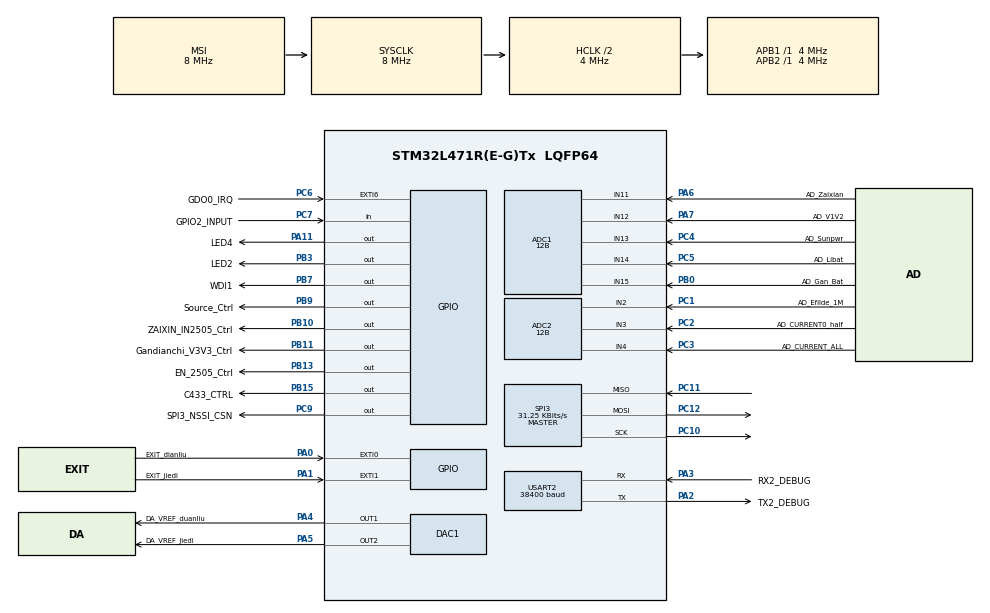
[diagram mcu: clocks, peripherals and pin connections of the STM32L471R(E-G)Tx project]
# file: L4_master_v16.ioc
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ADC1.Channel-10\#ChannelRegularConversion=ADC_CHANNEL_15
ADC1.Channel-11\#ChannelRegularConversion=ADC_CHANNEL_11
ADC1.Channel-12\#ChannelRegularConversion=ADC_CHANNEL_13
ADC1.Channel-13\#ChannelRegularConversion=ADC_CHANNEL_14
ADC1.Channel-14\#ChannelRegularConversion=ADC_CHANNEL_12
ADC1.Channel-6\#ChannelRegularConversion=ADC_CHANNEL_TEMPSENSOR
ADC1.Channel-7\#ChannelRegularConversion=ADC_CHANNEL_VBAT
ADC1.Channel-8\#ChannelRegularConversion=ADC_CHANNEL_VREFINT
ADC1.ClockPrescaler=ADC_CLOCK_ASYNC_DIV1
ADC1.ContinuousConvMode=ENABLE
ADC1.DMAContinuousRequests=ENABLE
ADC1.DataAlign=ADC_DATAALIGN_RIGHT
ADC1.DiscontinuousConvMode=DISABLE
ADC1.EOCSelection=ADC_EOC_SINGLE_CONV
ADC1.EnableAnalogWatchDog1=false
ADC1.EnableAnalogWatchDog2=false
ADC1.EnableAnalogWatchDog3=false
ADC1.EnableInjectedConversion=DISABLE
ADC1.EnableRegularConversion=ENABLE
ADC1.ExternalTrigConv=ADC_SOFTWARE_START
ADC1.ExternalTrigConvEdge=ADC_EXTERNALTRIGCONVEDGE_NONE
ADC1.LowPowerAutoWait=DISABLE
ADC1.NbrOfConversion=8
ADC1.NbrOfConversionFlag=1
ADC1.OffsetNumber-10\#ChannelRegularConversion=ADC_OFFSET_NONE
ADC1.OffsetNumber-11\#ChannelRegularConversion=ADC_OFFSET_NONE
ADC1.OffsetNumber-12\#ChannelRegularConversion=ADC_OFFSET_NONE
ADC1.OffsetNumber-13\#ChannelRegularConversion=ADC_OFFSET_NONE
ADC1.OffsetNumber-14\#ChannelRegularConversion=ADC_OFFSET_NONE
ADC1.OffsetNumber-6\#ChannelRegularConversion=ADC_OFFSET_NONE
ADC1.OffsetNumber-7\#ChannelRegularConversion=ADC_OFFSET_NONE
ADC1.OffsetNumber-8\#ChannelRegularConversion=ADC_OFFSET_NONE
ADC1.Overrun=ADC_OVR_DATA_PRESERVED
ADC1.OversamplingMode=DISABLE
ADC1.Rank-10\#ChannelRegularConversion=4
ADC1.Rank-11\#ChannelRegularConversion=5
ADC1.Rank-12\#ChannelRegularConversion=6
ADC1.Rank-13\#ChannelRegularConversion=7
ADC1.Rank-14\#ChannelRegularConversion=8
ADC1.Rank-6\#ChannelRegularConversion=1
ADC1.Rank-7\#ChannelRegularConversion=2
ADC1.Rank-8\#ChannelRegularConversion=3
ADC1.Resolution=ADC_RESOLUTION_12B
ADC1.SamplingTime-10\#ChannelRegularConversion=ADC_SAMPLETIME_640CYCLES_5
ADC1.SamplingTime-11\#ChannelRegularConversion=ADC_SAMPLETIME_640CYCLES_5
ADC1.SamplingTime-12\#ChannelRegularConversion=ADC_SAMPLETIME_640CYCLES_5
ADC1.SamplingTime-13\#ChannelRegularConversion=ADC_SAMPLETIME_640CYCLES_5
ADC1.SamplingTime-14\#ChannelRegularConversion=ADC_SAMPLETIME_2CYCLES_5
ADC1.SamplingTime-6\#ChannelRegularConversion=ADC_SAMPLETIME_640CYCLES_5
ADC1.SamplingTime-7\#ChannelRegularConversion=ADC_SAMPLETIME_640CYCLES_5
ADC1.SamplingTime-8\#ChannelRegularConversion=ADC_SAMPLETIME_640CYCLES_5
ADC1.ScanConvMode=ADC_SCAN_ENABLE
ADC1.master=1
ADC2.Channel-3\#ChannelRegularConversion=ADC_CHANNEL_4
ADC2.Channel-6\#ChannelRegularConversion=ADC_CHANNEL_2
ADC2.Channel-8\#ChannelRegularConversion=ADC_CHANNEL_3
ADC2.ClockPrescaler=ADC_CLOCK_ASYNC_DIV1
ADC2.ContinuousConvMode=ENABLE
ADC2.DMAContinuousRequests=ENABLE
ADC2.DataAlign=ADC_DATAALIGN_RIGHT
ADC2.DiscontinuousConvMode=DISABLE
ADC2.EOCSelection=ADC_EOC_SINGLE_CONV
ADC2.EnableAnalogWatchDog1=false
ADC2.EnableAnalogWatchDog2=false
ADC2.EnableAnalogWatchDog3=false
ADC2.EnableInjectedConversion=DISABLE
ADC2.EnableRegularConversion=ENABLE
ADC2.ExternalTrigConv=ADC_SOFTWARE_START
ADC2.ExternalTrigConvEdge=ADC_EXTERNALTRIGCONVEDGE_NONE
ADC2.LowPowerAutoWait=DISABLE
ADC2.NbrOfConversion=3
ADC2.NbrOfConversionFlag=1
ADC2.OffsetNumber-3\#ChannelRegularConversion=ADC_OFFSET_NONE
ADC2.OffsetNumber-6\#ChannelRegularConversion=ADC_OFFSET_NONE
ADC2.OffsetNumber-8\#ChannelRegularConversion=ADC_OFFSET_NONE
ADC2.Overrun=ADC_OVR_DATA_PRESERVED
ADC2.OversamplingMode=DISABLE
ADC2.Rank-3\#ChannelRegularConversion=1
ADC2.Rank-6\#ChannelRegularConversion=2
ADC2.Rank-8\#ChannelRegularConversion=3
ADC2.Resolution=ADC_RESOLUTION_12B
ADC2.SamplingTime-3\#ChannelRegularConversion=ADC_SAMPLETIME_247CYCLES_5
ADC2.SamplingTime-6\#ChannelRegularConversion=ADC_SAMPLETIME_247CYCLES_5
ADC2.SamplingTime-8\#ChannelRegularConversion=ADC_SAMPLETIME_247CYCLES_5
ADC2.ScanConvMode=ADC_SCAN_ENABLE
DAC1.DAC_Channel-DAC_OUT2=DAC_CHANNEL_2
Dma.ADC1.0.Direction=DMA_PERIPH_TO_MEMORY
Dma.ADC1.0.Instance=DMA1_Channel1
Dma.ADC1.0.MemDataAlignment=DMA_MDATAALIGN_HALFWORD
Dma.ADC1.0.MemInc=DMA_MINC_ENABLE
Dma.ADC1.0.Mode=DMA_CIRCULAR
Dma.ADC1.0.PeriphDataAlignment=DMA_PDATAALIGN_HALFWORD
Dma.ADC1.0.PeriphInc=DMA_PINC_DISABLE
Dma.ADC1.0.Priority=DMA_PRIORITY_LOW
Dma.ADC2.1.Direction=DMA_PERIPH_TO_MEMORY
Dma.ADC2.1.Instance=DMA2_Channel4
Dma.ADC2.1.MemDataAlignment=DMA_MDATAALIGN_HALFWORD
Dma.ADC2.1.MemInc=DMA_MINC_ENABLE
Dma.ADC2.1.Mode=DMA_CIRCULAR
Dma.ADC2.1.PeriphDataAlignment=DMA_PDATAALIGN_HALFWORD
Dma.ADC2.1.PeriphInc=DMA_PINC_DISABLE
Dma.ADC2.1.Priority=DMA_PRIORITY_VERY_HIGH
Dma.Request0=ADC1
Dma.Request1=ADC2
FREERTOS.INCLUDE_uxTaskGetStackHighWaterMark=1
FREERTOS.INCLUDE_xEventGroupSetBitFromISR=1
FREERTOS.INCLUDE_xTimerPendFunctionCall=1
FREERTOS.Mutexes01=myMutex01,Dynamic,NULL
FREERTOS.Queues01=myQueue01,16,uint16_t,NULL,Dynamic,NULL,NULL;myQueue02,16,uint16_t,NULL,Dynamic,NULL,NULL
FREERTOS.Tasks01=defaultTask,-3,256,StartDefaultTask,Default,NULL,Dynamic,NULL,NULL;myTask02,0,256,StartTask02,Default,NULL,Dynamic,NULL,NULL;myTask03,0,256,StartTask03,Default,NULL,Dynamic,NULL,NULL;myTask04,1,256,StartTask04,Default,NULL,Dynamic,NULL,NULL;myTask08,-3,384,StartTask08,Default,NULL,Dynamic,NULL,NULL
FREERTOS.Timers01=myTimer01,Callback01,osTimerPeriodic,Default,NULL,Dynamic,NULL
FREERTOS.configTIMER_TASK_PRIORITY=6
FREERTOS.configTOTAL_HEAP_SIZE=10240
FREERTOS.configUSE_TASK_NOTIFICATIONS=0
FREERTOS.configUSE_TICKLESS_IDLE=1
FREERTOS.configUSE_TIMERS=1
Mcu.Family=STM32L4
Mcu.Name=STM32L471R(E-G)Tx
Mcu.Package=LQFP64
NVIC.DMA1_Channel1_IRQn=true\:7\:0\:true\:false\:true\:true
NVIC.DMA2_Channel4_IRQn=true\:0\:0\:true\:false\:true\:false
NVIC.EXTI0_IRQn=true\:5\:0\:false\:false\:true\:true
NVIC.EXTI1_IRQn=true\:5\:0\:true\:false\:true\:true
NVIC.EXTI9_5_IRQn=true\:5\:0\:false\:false\:true\:true
NVIC.PriorityGroup=NVIC_PRIORITYGROUP_4
NVIC.TIM1_TRG_COM_TIM17_IRQn=true\:0\:0\:false\:false\:true\:false
NVIC.TIM6_DAC_IRQn=true\:5\:0\:true\:false\:true\:true
NVIC.TIM7_IRQn=true\:1\:0\:true\:false\:true\:false
NVIC.TimeBase=TIM1_TRG_COM_TIM17_IRQn
NVIC.TimeBaseIP=TIM17
NVIC.USART2_IRQn=true\:5\:0\:false\:false\:true\:true
PA0.GPIO_Label=EXIT_dianliu
PA0.Signal=GPXTI0
PA1.GPIO_Label=EXIT_jiedi
PA1.GPIO_ModeDefaultEXTI=GPIO_MODE_IT_FALLING
PA1.GPIO_PuPd=GPIO_NOPULL
PA1.Signal=GPXTI1
PA11.GPIO_Label=LED4
PA11.PinState=GPIO_PIN_SET
PA11.Signal=GPIO_Output
PA13\ (JTMS-SWDIO).Mode=Serial_Wire
PA13\ (JTMS-SWDIO).Signal=SYS_JTMS-SWDIO
PA14\ (JTCK-SWCLK).Mode=Serial_Wire
PA14\ (JTCK-SWCLK).Signal=SYS_JTCK-SWCLK
PA2.GPIO_Label=TX2_DEBUG
PA2.Mode=Asynchronous
PA2.Signal=USART2_TX
PA3.GPIO_Label=RX2_DEBUG
PA3.Mode=Asynchronous
PA3.Signal=USART2_RX
PA4.GPIO_Label=DA_VREF_duanliu
PA4.GPIO_Mode=GPIO_MODE_ANALOG
PA4.GPIO_PuPd=GPIO_NOPULL
PA4.Signal=COMP_DAC11_group
PA5.GPIO_Label=DA_VREF_jiedi
PA5.GPIO_Mode=GPIO_MODE_ANALOG
PA5.GPIO_PuPd=GPIO_NOPULL
PA5.Signal=COMP_DAC12_group
PA6.GPIO_Label=AD_Zaixian
PA6.Signal=ADCx_IN11
PA7.GPIO_Label=AD_V1V2
PA7.Signal=ADCx_IN12
PB0.GPIO_Label=AD_Gan_Bat
PB0.Signal=ADCx_IN15
PB10.GPIO_Label=ZAIXIN_IN2505_Ctrl
PB10.PinState=GPIO_PIN_SET
PB10.Signal=GPIO_Output
PB11.GPIO_Label=Gandianchi_V3V3_Ctrl
PB11.PinState=GPIO_PIN_SET
PB11.Signal=GPIO_Output
PB13.GPIO_Label=EN_2505_Ctrl
PB13.Signal=GPIO_Output
PB15.GPIO_Label=C433_CTRL
PB15.GPIO_PuPd=GPIO_PULLUP
PB15.PinState=GPIO_PIN_SET
PB15.Signal=GPIO_Output
PB3\ (JTDO-TRACESWO).GPIO_Label=LED2
PB3\ (JTDO-TRACESWO).PinState=GPIO_PIN_SET
PB3\ (JTDO-TRACESWO).Signal=GPIO_Output
PB7.GPIO_Label=WDI1
PB7.Signal=GPIO_Output
PB9.GPIO_Label=Source_Ctrl
PB9.Signal=GPIO_Output
PC0.Signal=ADCx_IN1
PC1.GPIO_Label=AD_Efilde_1M
PC1.Signal=ADCx_IN2
PC10.Mode=Full_Duplex_Master
PC10.Signal=SPI3_SCK
PC11.Mode=Full_Duplex_Master
PC11.Signal=SPI3_MISO
PC12.Mode=Full_Duplex_Master
PC12.Signal=SPI3_MOSI
PC2.GPIO_Label=AD_CURRENT0_half
PC2.Signal=ADCx_IN3
PC3.GPIO_Label=AD_CURRENT_ALL
PC3.Signal=ADCx_IN4
PC4.GPIO_Label=AD_Sunpwr
PC4.Signal=ADCx_IN13
PC5.GPIO_Label=AD_Libat
PC5.Signal=ADCx_IN14
PC6.GPIO_Label=GDO0_IRQ
PC6.Signal=GPXTI6
PC7.GPIO_Label=GPIO2_INPUT
PC7.Signal=GPIO_Input
PC9.GPIO_Label=SPI3_NSSI_CSN
PC9.Signal=GPIO_Output
ProjectManager.HeapSize=0x200
ProjectManager.StackSize=0x400
ProjectManager.TargetToolchain=MDK-ARM V5
RCC.ADCCLockSelection=RCC_ADCCLKSOURCE_SYSCLK
RCC.ADCFreq_Value=8000000
RCC.AHBCLKDivider=RCC_SYSCLK_DIV2
RCC.AHBFreq_Value=4000000
RCC.APB1Freq_Value=4000000
RCC.APB1TimFreq_Value=4000000
RCC.APB2Freq_Value=4000000
RCC.APB2TimFreq_Value=4000000
RCC.CortexFreq_Value=4000000
RCC.HCLKFreq_Value=4000000
RCC.HSE_VALUE=8000000
RCC.HSI_VALUE=16000000
RCC.LSE_VALUE=32768
RCC.MSIClockRange=RCC_MSIRANGE_7
RCC.MSI_VALUE=8000000
RCC.PLLM=2
RCC.PLLN=40
RCC.PLLSAI1N=16
RCC.PLLSAI1R=RCC_PLLR_DIV8
RCC.PLLSAI2N=16
RCC.PLLSAI2R=RCC_PLLR_DIV8
RCC.SYSCLKFreq_VALUE=8000000
RCC.USART2CLockSelection=RCC_USART2CLKSOURCE_SYSCLK
RCC.USART3CLockSelection=RCC_USART3CLKSOURCE_SYSCLK
RCC.VCOOutputFreq_Value=160000000
SH.ADCx_IN1.0=ADC2_IN1
SH.ADCx_IN11.0=ADC1_IN11,IN11-Single-Ended
SH.ADCx_IN12.0=ADC1_IN12,IN12-Single-Ended
SH.ADCx_IN13.0=ADC1_IN13,IN13-Single-Ended
SH.ADCx_IN14.0=ADC1_IN14,IN14-Single-Ended
SH.ADCx_IN15.0=ADC1_IN15,IN15-Single-Ended
SH.ADCx_IN2.0=ADC2_IN2,IN2-Single-Ended
SH.ADCx_IN3.0=ADC2_IN3,IN3-Single-Ended
SH.ADCx_IN4.0=ADC2_IN4,IN4-Single-Ended
SH.COMP_DAC11_group.0=DAC1_OUT1,DAC_OUT1
SH.COMP_DAC12_group.0=DAC1_OUT2,DAC_OUT2
SPI3.BaudRatePrescaler=SPI_BAUDRATEPRESCALER_128
SPI3.CalculateBaudRate=31.25 KBits/s
SPI3.DataSize=SPI_DATASIZE_8BIT
SPI3.Direction=SPI_DIRECTION_2LINES
SPI3.Mode=SPI_MODE_MASTER
SPI3.VirtualType=VM_MASTER
TIM6.Period=1000-1
TIM6.Prescaler=4000-1
TIM7.Period=250
TIM7.Prescaler=4-1
USART2.BaudRate=38400
USART2.VirtualMode-Asynchronous=VM_ASYNC
USART2.WordLength=WORDLENGTH_8B
VP_ADC1_TempSens_Input.Mode=IN-TempSens
VP_ADC1_Vbat_Input.Mode=IN-Vbat
VP_ADC1_Vref_Input.Mode=IN-Vrefint
VP_FREERTOS_VS_ENABLE.Mode=Enabled
VP_RTC_VS_RTC_Activate.Mode=RTC_Enabled
VP_SYS_VS_tim17.Mode=TIM17
VP_TIM6_VS_ClockSourceINT.Mode=Enable_Timer
VP_TIM7_VS_ClockSourceINT.Mode=Enable_Timer
board=L4_master_v16

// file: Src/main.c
/**
  ******************************************************************************
  * File Name          : main.c
  * Description        : Main program body
  ******************************************************************************
  * This notice applies to any and all portions of this file
  * that are not between comment pairs USER CODE BEGIN and
  * USER CODE END. Other portions of this file, whether
  * inserted by the user or by software development tools
  * are owned by their respective copyright owners.
  *
  * Copyright (c) 2017 STMicroelectronics International N.V.
  * All rights reserved.
  *
  * Redistribution and use in source and binary forms, with or without
  * modification, are permitted, provided that the following conditions are met:
  *
  * 1. Redistribution of source code must retain the above copyright notice,
  *    this list of conditions and the following disclaimer.
  * 2. Redistributions in binary form must reproduce the above copyright notice,
  *    this list of conditions and the following disclaimer in the documentation
  *    and/or other materials provided with the distribution.
  * 3. Neither the name of STMicroelectronics nor the names of other
  *    contributors to this software may be used to endorse or promote products
  *    derived from this software without specific written permission.
  * 4. This software, including modifications and/or derivative works of this
  *    software, must execute solely and exclusively on microcontroller or
  *    microprocessor devices manufactured by or for STMicroelectronics.
  * 5. Redistribution and use of this software other than as permitted under
  *    this license is void and will automatically terminate your rights under
  *    this license.
  *
  * THIS SOFTWARE IS PROVIDED BY STMICROELECTRONICS AND CONTRIBUTORS "AS IS"
  * AND ANY EXPRESS, IMPLIED OR STATUTORY WARRANTIES, INCLUDING, BUT NOT
  * LIMITED TO, THE IMPLIED WARRANTIES OF MERCHANTABILITY, FITNESS FOR A
  * PARTICULAR PURPOSE AND NON-INFRINGEMENT OF THIRD PARTY INTELLECTUAL PROPERTY
  * RIGHTS ARE DISCLAIMED TO THE FULLEST EXTENT PERMITTED BY LAW. IN NO EVENT
  * SHALL STMICROELECTRONICS OR CONTRIBUTORS BE LIABLE FOR ANY DIRECT, INDIRECT,
  * INCIDENTAL, SPECIAL, EXEMPLARY, OR CONSEQUENTIAL DAMAGES (INCLUDING, BUT NOT
  * LIMITED TO, PROCUREMENT OF SUBSTITUTE GOODS OR SERVICES; LOSS OF USE, DATA,
  * OR PROFITS; OR BUSINESS INTERRUPTION) HOWEVER CAUSED AND ON ANY THEORY OF
  * LIABILITY, WHETHER IN CONTRACT, STRICT LIABILITY, OR TORT (INCLUDING
  * NEGLIGENCE OR OTHERWISE) ARISING IN ANY WAY OUT OF THE USE OF THIS SOFTWARE,
  * EVEN IF ADVISED OF THE POSSIBILITY OF SUCH DAMAGE.
  *
  ******************************************************************************
  */
#include "main.h"
#include "stm32l4xx_hal.h"
#include "cmsis_os.h"
#include "adc.h"
#include "dac.h"
#include "dma.h"
#include "rtc.h"
#include "spi.h"
#include "tim.h"
#include "usart.h"
#include "gpio.h"

/* USER CODE BEGIN Includes */
#include "my_usart.h"
#include "my_extern_val.h"
#include "my_gloabal_val.h"
#include "my_ADC.h"
#include "my_DAC.h"
//#include "my_led.h"
#include "my_101.h"
#include "my_time.h"
#include "my_cc1101.h"
#include "bsp_stm_flash.h"
#include "bsp_iap.h"

/* USER CODE END Includes */

/* USER CODE BEGIN PV */
/* Private variables ---------------------------------------------------------*/
#include "my_OS.h"
/*
版本号20171227E
*/
extern uint8_t my_nmi_status;
extern uint16_t ADC2_GetValue[ADC2_ROW][ADC2_COLM];//用于保存采集的值,M个通道,N次
extern uint16_t ADC1_GetValue[ADC1_ROW][ADC1_COLM];//用于保存采集的值,M个通道,N次

extern	uint32_t my_dac_tr_data;

extern uint8_t  rsbuf2[200];
extern uint16_t my_usart2_re_count;
extern uint16_t VREFINT_CAL;
extern uint16_t MY_TS_CAL1;
extern uint16_t MY_TS_CAL2;

//DAC1
extern uint16_t my_dac1_channel1_data_i;
extern uint16_t my_dac1_channel2_data_e;

//USART3

extern uint8_t  my_Time_Cyc_exit_Status;
extern uint16_t my_pro_step;
extern double ADC2_Filer_value_buf_2[ADC2_COLM][3];

/* USER CODE END PV */

void SystemClock_Config(void);
void MX_FREERTOS_Init(void);

/* USER CODE BEGIN PFP */
/* Private function prototypes -----------------------------------------------*/

/* USER CODE END PFP */

/* USER CODE BEGIN 0 */

uint8_t my_sys_start_status=0;  //系统启动标识

/* USER CODE END 0 */

int main(void)
{

  /* USER CODE BEGIN 1 */
    __IO uint8_t xi=0,yi=0;

    uint8_t my_usart_tx_data[20]= {0x31,0x32,0x033,0x34,0X35,0X36,0X37,0X38,0X39,0X3A};
    uint32_t my_fr=0;
  /* USER CODE END 1 */

  /* MCU Configuration----------------------------------------------------------*/

  /* Reset of all peripherals, Initializes the Flash interface and the Systick. */
  HAL_Init();

  /* Configure the system clock */
  SystemClock_Config();

  /* Initialize all configured peripherals */
  MX_GPIO_Init();
  MX_DMA_Init();
  MX_ADC1_Init();
  MX_DAC1_Init();
  MX_RTC_Init();
  MX_ADC2_Init();
  MX_USART2_UART_Init();
  MX_SPI3_Init();
  MX_TIM7_Init();
  MX_TIM6_Init();

  /* USER CODE BEGIN 2 */

    HAL_NVIC_DisableIRQ(EXTI0_IRQn); //接地中断
    HAL_NVIC_DisableIRQ(EXTI1_IRQn); //短路中断
		HAL_NVIC_DisableIRQ(EXTI9_5_IRQn); //CC1101接收中断

    HAL_NVIC_ClearPendingIRQ(EXTI0_IRQn);
    HAL_NVIC_ClearPendingIRQ(EXTI1_IRQn);
		HAL_NVIC_ClearPendingIRQ(EXTI9_5_IRQn);
  //系统启动标识
  my_sys_start_status=1;
	HAL_TIM_Base_Start_IT(&htim6);  //开启tim6定时器,1s
    //__HAL_GPIO_EXTI_CLEAR_IT(GPIO_PIN_1); //这个可以清除外部中断，每个中断的清除函数都不一样，需要分别调用
    //__HAL_GPIO_EXTI_CLEAR_IT(GPIO_PIN_2); //这个可以清除外部中断，每个中断的清除函数都不一样，需要分别调用
   // HAL_TIM_Base_Start_IT(&htim6);  //开启tim6定时器,1s

		HAL_Delay(200);
    //LED2_ON;
		HAL_Delay(200);
		LED2_OFF;

		 HAL_Delay(200);
    //LED4_ON;
		HAL_Delay(200);
		LED4_OFF;

    //串口UART2
    HAL_UART_Transmit(&huart2,my_usart_tx_data,4,1000);
    printf("\nPrintf MCU1-UART2 IS OK!!\n");
    USART_printf(&huart2,"usart_printf MCU1-UART2 IS OK!!");

    my_fr=HAL_RCC_GetSysClockFreq();  //读取系统时钟
    printf("\n ======ZSQ:[%d]=====SysClockFreq:%dMHZ========\n",my_CC1101_chip_address,my_fr/1000000);

    //---ADC1,ADC2---DMA方式配置与启动
    HAL_ADC_Start_DMA(&hadc1, (uint32_t *)&ADC1_GetValue[0][0],ADC1_ROW*ADC1_COLM);//&ADC2_GetValue[0][0],ADC2_ROW*ADC2_COLM
    HAL_ADC_Start_DMA(&hadc2, (uint32_t *)&ADC2_GetValue[0][0],ADC2_ROW*ADC2_COLM);//&ADC1_GetValue[0][0],ADC1_ROW*ADC1_COLM

    //--------定时器控制
    HAL_TIM_Base_Start_IT(&htim7);  //开启tim7定时器，250us
    //HAL_TIM_Base_Start_IT(&htim6);  //开启tim6定时器,1s

//	HAL_TIM_Base_Stop_IT(&htim6);
//	HAL_TIM_Base_Stop_IT(&htim7);

    /* 得到基准电压校准值 */
    VREFINT_CAL = *(__IO uint16_t *)(0X1FFF75AA);
    MY_TS_CAL1 = *(__IO uint16_t *)(0X1FFF75A8);
    MY_TS_CAL2 = *(__IO uint16_t *)(0X1FFF75CA);
    printf("\n VREFINT_CAL=[%d],TS_CAL1 =%d,TS_CAL2 =%d\n",VREFINT_CAL,MY_TS_CAL1,MY_TS_CAL2);
    my_adc_1_convert_dis(1);

//关EXIT中断
//    HAL_NVIC_DisableIRQ(EXTI1_IRQn);
//    HAL_NVIC_DisableIRQ(EXTI2_IRQn);
//    __HAL_GPIO_EXTI_CLEAR_IT(GPIO_PIN_1); //这个可以清除外部中断，每个中断的清除函数都不一样，需要分别调用
//    __HAL_GPIO_EXTI_CLEAR_IT(GPIO_PIN_2); //这个可以清除外部中断，每个中断的清除函数都不一样，需要分别调用

//DAC1
    my_dac1_channel1_data_i=0X0FFF/2;
    my_dac1_channel2_data_e=0X0FFF/4;
    HAL_DAC_SetValue(&hdac1,DAC_CHANNEL_1,DAC_ALIGN_12B_R,my_dac1_channel1_data_i); //设置模拟量
    HAL_DAC_Start(&hdac1,DAC_CHANNEL_1); //开启DAC1的通道1  电流通道

    HAL_DAC_SetValue(&hdac1,DAC_CHANNEL_2,DAC_ALIGN_12B_R,my_dac1_channel2_data_e);//设置模拟量
    HAL_DAC_Start(&hdac1,DAC_CHANNEL_2);//开启DAC1的通道2  电场通道

    my_dac1_channel1_data_i=0X0FFF/11*10;
    HAL_DAC_SetValue(&hdac1,DAC_CHANNEL_1,DAC_ALIGN_12B_R,my_dac1_channel1_data_i);//设置模拟量，后自动输出
    my_dac1_channel2_data_e=0X0FFF/3.0;
    HAL_DAC_SetValue(&hdac1,DAC_CHANNEL_2,DAC_ALIGN_12B_R,my_dac1_channel2_data_e);//设置模拟量，后自动输出

//开EXIT中断

    HAL_NVIC_ClearPendingIRQ(EXTI0_IRQn);
    HAL_NVIC_ClearPendingIRQ(EXTI1_IRQn);
		HAL_NVIC_ClearPendingIRQ(EXTI9_5_IRQn);

    //HAL_NVIC_EnableIRQ(EXTI0_IRQn);
   //HAL_NVIC_EnableIRQ(EXTI1_IRQn); //短路中断开启
   // HAL_NVIC_EnableIRQ(EXTI9_5_IRQn);

  //====内部FLASH
	  uint64_t passsword=0;
		uint64_t length_L=0;

		passsword=APP_update_password;
		length_L=0X1234567890ABCDEF;

//			STMFLASH_Write(APP_update_status1_add,&passsword,1);
//			STMFLASH_Write(APP_update_status2_add,&passsword,1);
//			STMFLASH_Write(APP_update_length1_add,&length_L,1);
//			STMFLASH_Write(APP_update_length2_add,&length_L,1);

		STMFLASH_Read(APP_update_status1_add,&passsword,1);
		printf("status=[%X]\n",(uint32_t)passsword);
		STMFLASH_Read(APP_update_status2_add,&passsword,1);
		printf("status=[%X]\n",(uint32_t)passsword);
		STMFLASH_Read(APP_update_length1_add,&length_L,1);
		printf("status=[%X]\n",(uint32_t)length_L);
		STMFLASH_Read(APP_update_length2_add,&length_L,1);
		printf("status=[%X]\n",(uint32_t)length_L);

		//开启串口接收中断
		HAL_UART_Receive_IT(&huart2,&rsbuf2[rsbuf2pt_write],1);  //

//PWR关断管理
GANdianchi_OFF; //关断干电池
WDI1_TOGGLE;
HAL_Delay(500);
GANdianchi_ON; //打开干电池（默认）
//HAL_Delay(500);
//GANdianchi_OFF; //关断干电池

EN25505_OFF;
WDI1_TOGGLE;
HAL_Delay(500);
EN25505_ON;//BQ25505工作（默认）

CT_Source_short_ON;  //CT短路放电
WDI1_TOGGLE;
HAL_Delay(500);
CT_Source_short_OFF;  //CT开路，不放电（默认）

WDI1_TOGGLE;
HAL_Delay(500);

CT_to_BQ25505_ON;  //CT给BQ25充电
WDI1_TOGGLE;
HAL_Delay(500);
printf("\n 999999 \n");

CT_to_BQ25505_OFF;

//==CC1101  START  INIT
#if USE_CC1101_PWR_ON_STATUS==1

  CC1101_PWR_ON; //硬件默认是断开状态
	WDI1_TOGGLE;
	printf("\n 7777 \n");

	HAL_Delay(200);
	printf("\n 88888 \n");

#else
	CC1101_PWR_OFF;//CC1101断电

	HAL_Delay(200);
#endif
 printf("\n 66666 \n");

	WDI1_TOGGLE;
	printf("GDO2_CONFIG-%XH\n",CC1101ReadReg(CC1101_IOCFG2));
	printf("GDO1_CONFIG-%XH\n",CC1101ReadReg(CC1101_IOCFG1));
	printf("GDO0_CONFIG-%XH\n",CC1101ReadReg(CC1101_IOCFG0));
	WDI1_TOGGLE;

	CC1101Init();
	HAL_Delay(1000);

	printf("GDO2_CONFIG-%XH\n",CC1101ReadReg(CC1101_IOCFG2));
	printf("GDO1_CONFIG-%XH\n",CC1101ReadReg(CC1101_IOCFG1));
	printf("GDO0_CONFIG-%XH\n",CC1101ReadReg(CC1101_IOCFG0));

	my_read_all_reg();

	//--------进入WOR模式,当前方式是利用按钮中断，开启WOR模式
   //EVE0=0X876A T0为1秒 ，当T0为0.5秒的时候，为0X876A的一半，0X43B5H  0.25秒0X21DA

			CC1101WriteCmd(CC1101_SIDLE); //进入空闲状态
			CC1101WriteReg(CC1101_MCSM2,0X00); //写0x16 ,RX_TIME，写入0X00，设置接收时间限制，占空比问题00最高12%,如果没接收到数据，就进入SLEEP。
			CC1101WriteReg(CC1101_MCSM0,0x18);  //0X18 	//
			CC1101WriteReg(CC1101_WOREVT1,0x87);  //0X1E,event0 高字节
			CC1101WriteReg(CC1101_WOREVT0,0x6A);   //0X1F event0 低字节
			CC1101WriteReg(CC1101_WORCTRL,0X78); //写0X20,0111 100,WOR_RES
			//CC1101WriteCmd(CC1101_SWOR); //开启WOR模式

	//---------进入接收模式

	CC1101SetIdle();
	CC1101WriteReg(CC1101_MCSM2,0X07); //写0x16 ,RX_TIME，写入0X07,设置没有时间限制，一致接收数据
	//CC1101SetTRMode(RX_MODE);           // 进入接收模式
	HAL_Delay(500);
	printf("after rx CC1101 status=[%XH] \n",CC1101ReadStatus(CC1101_MARCSTATE)); //0X01空闲，0X0D接收，0X13发送
if(my_CC1101_Sleep_status==1)  //CC1101sleep状态工作
{
  CC1101SetSleep();
}
else
{
	CC1101SetTRMode(RX_MODE);           // 进入接收模式
	HAL_Delay(500);
	printf("after rx CC1101 status=[%XH] \n",CC1101ReadStatus(CC1101_MARCSTATE)); //0X01空闲，0X0D接收，0X13发送
}

	HAL_Delay(500);
	//---------初始化完成，开启接收中断

	//__HAL_GPIO_EXTI_CLEAR_IT(PIN_CC_IRQ);
	//HAL_NVIC_EnableIRQ(EXIT_CC_IRQ_GD0); //开启中断，接收CC1101数据产生

	//===CC1101 END
	printf("sysclk=%dMHZ, hclk=%dMHZ\r\n",HAL_RCC_GetSysClockFreq()/1000000,HAL_RCC_GetHCLKFreq()/1000000);
//RTC设置部分

	HAL_RTC_GetDate(&hrtc, &my_RTC_date, RTC_FORMAT_BIN);
  HAL_RTC_GetTime(&hrtc, &my_RTC_time, RTC_FORMAT_BIN);
	printf("reset  RTC   %d-%d-%d %d:%d:%d===\n",my_RTC_date.Year,my_RTC_date.Month,my_RTC_date.Date,my_RTC_time.Hours,my_RTC_time.Minutes,my_RTC_time.Seconds);
	//HAL_RTC_SetDate(&hrtc, &my_RTC_date, RTC_FORMAT_BIN);
	//HAL_RTC_SetTime(&hrtc, &my_RTC_time, RTC_FORMAT_BIN);
//DAC强制600A
	ADC2_Filer_value_buf_2[0][1]=600;
	my_fun_Set_DAC_I_ref();//DA转换

  //系统启动标识
  my_sys_start_status=1;

  /* USER CODE END 2 */

  /* Call init function for freertos objects (in freertos.c) */
  MX_FREERTOS_Init();

  /* Start scheduler */
  osKernelStart();

  /* We should never get here as control is now taken by the scheduler */

  /* Infinite loop */
  /* USER CODE BEGIN WHILE */
	xi=0;
    while (1)
    {
  /* USER CODE END WHILE */

  /* USER CODE BEGIN 3 */

				HAL_Delay(1000);
			  printf("%d\n",++xi);
			  //DisableGPIO();
      //HAL_PWR_EnterSTOPMode(PWR_LOWPOWERREGULATOR_ON,PWR_STOPENTRY_WFI);//STOP2--2.42MA-无CC1101
      //关闭所有端口和总线1.95，只关闭端口2.18,不关闭2.72

			 //HAL_PWR_EnterSTOPMode(PWR_MAINREGULATOR_ON,PWR_STOPENTRY_WFI); //STOP1,?TCC1101--2.42ma￡?óDCC1101--3.8ma
			//关闭所有端口和总线1.95,只关闭端口2.18,不关闭2.72

			//HAL_PWR_EnterSLEEPMode(PWR_LOWPOWERREGULATOR_ON,PWR_STOPENTRY_WFI);
			//关闭所有端口，总线1.84,--只关闭端口2.08，不关闭2.62

			//HAL_PWR_EnterSLEEPMode(PWR_MAINREGULATOR_ON,PWR_STOPENTRY_WFI);//sleep1--2.42无CC1101，有CC1101睡眠-2.53MA
			//关闭所有端口、总线1.95ma--2.18关闭所有GPIO端口，不关闭2.72,

			//HAL_PWR_EnterSTANDBYMode();  //无/有CC1101--0.41ma
			//HAL_PWREx_EnterSHUTDOWNMode(); //0.41ma

			//没有低功耗  2.72ma
    }
  /* USER CODE END 3 */

}

/** System Clock Configuration
*/
void SystemClock_Config(void)
{

  RCC_OscInitTypeDef RCC_OscInitStruct;
  RCC_ClkInitTypeDef RCC_ClkInitStruct;
  RCC_PeriphCLKInitTypeDef PeriphClkInit;

    /**Initializes the CPU, AHB and APB busses clocks
    */
  RCC_OscInitStruct.OscillatorType = RCC_OSCILLATORTYPE_LSI|RCC_OSCILLATORTYPE_MSI;
  RCC_OscInitStruct.LSIState = RCC_LSI_ON;
  RCC_OscInitStruct.MSIState = RCC_MSI_ON;
  RCC_OscInitStruct.MSICalibrationValue = 0;
  RCC_OscInitStruct.MSIClockRange = RCC_MSIRANGE_7;
  RCC_OscInitStruct.PLL.PLLState = RCC_PLL_NONE;
  if (HAL_RCC_OscConfig(&RCC_OscInitStruct) != HAL_OK)
  {
    _Error_Handler(__FILE__, __LINE__);
  }

    /**Initializes the CPU, AHB and APB busses clocks
    */
  RCC_ClkInitStruct.ClockType = RCC_CLOCKTYPE_HCLK|RCC_CLOCKTYPE_SYSCLK
                              |RCC_CLOCKTYPE_PCLK1|RCC_CLOCKTYPE_PCLK2;
  RCC_ClkInitStruct.SYSCLKSource = RCC_SYSCLKSOURCE_MSI;
  RCC_ClkInitStruct.AHBCLKDivider = RCC_SYSCLK_DIV2;
  RCC_ClkInitStruct.APB1CLKDivider = RCC_HCLK_DIV1;
  RCC_ClkInitStruct.APB2CLKDivider = RCC_HCLK_DIV1;

  if (HAL_RCC_ClockConfig(&RCC_ClkInitStruct, FLASH_LATENCY_0) != HAL_OK)
  {
    _Error_Handler(__FILE__, __LINE__);
  }

  PeriphClkInit.PeriphClockSelection = RCC_PERIPHCLK_RTC|RCC_PERIPHCLK_USART2
                              |RCC_PERIPHCLK_ADC;
  PeriphClkInit.Usart2ClockSelection = RCC_USART2CLKSOURCE_SYSCLK;
  PeriphClkInit.AdcClockSelection = RCC_ADCCLKSOURCE_SYSCLK;
  PeriphClkInit.RTCClockSelection = RCC_RTCCLKSOURCE_LSI;
  if (HAL_RCCEx_PeriphCLKConfig(&PeriphClkInit) != HAL_OK)
  {
    _Error_Handler(__FILE__, __LINE__);
  }

    /**Configure the main internal regulator output voltage
    */
  if (HAL_PWREx_ControlVoltageScaling(PWR_REGULATOR_VOLTAGE_SCALE1) != HAL_OK)
  {
    _Error_Handler(__FILE__, __LINE__);
  }

    /**Configure the Systick interrupt time
    */
  HAL_SYSTICK_Config(HAL_RCC_GetHCLKFreq()/1000);

    /**Configure the Systick
    */
  HAL_SYSTICK_CLKSourceConfig(SYSTICK_CLKSOURCE_HCLK);

  /* SysTick_IRQn interrupt configuration */
  HAL_NVIC_SetPriority(SysTick_IRQn, 15, 0);
}

void HAL_TIM_PeriodElapsedCallback(TIM_HandleTypeDef *htim)
{
  if (htim->Instance == TIM17) {
    HAL_IncTick();
  }
/* USER CODE BEGIN Callback 1 */
HAL_TIM_PeriodElapsedCallback2(htim);

/* USER CODE END Callback 1 */
}

void _Error_Handler(char * file, int line)
{
  while(1)
  {
  }
}

/************************ (C) COPYRIGHT STMicroelectronics *****END OF FILE****/

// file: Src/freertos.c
/**
  ******************************************************************************
  * File Name          : freertos.c
  * Description        : Code for freertos applications
  ******************************************************************************
  * This notice applies to any and all portions of this file
  * that are not between comment pairs USER CODE BEGIN and
  * USER CODE END. Other portions of this file, whether
  * inserted by the user or by software development tools
  * are owned by their respective copyright owners.
  *
  * Copyright (c) 2017 STMicroelectronics International N.V.
  * All rights reserved.
  *
  * Redistribution and use in source and binary forms, with or without
  * modification, are permitted, provided that the following conditions are met:
  *
  * 1. Redistribution of source code must retain the above copyright notice,
  *    this list of conditions and the following disclaimer.
  * 2. Redistributions in binary form must reproduce the above copyright notice,
  *    this list of conditions and the following disclaimer in the documentation
  *    and/or other materials provided with the distribution.
  * 3. Neither the name of STMicroelectronics nor the names of other
  *    contributors to this software may be used to endorse or promote products
  *    derived from this software without specific written permission.
  * 4. This software, including modifications and/or derivative works of this
  *    software, must execute solely and exclusively on microcontroller or
  *    microprocessor devices manufactured by or for STMicroelectronics.
  * 5. Redistribution and use of this software other than as permitted under
  *    this license is void and will automatically terminate your rights under
  *    this license.
  *
  * THIS SOFTWARE IS PROVIDED BY STMICROELECTRONICS AND CONTRIBUTORS "AS IS"
  * AND ANY EXPRESS, IMPLIED OR STATUTORY WARRANTIES, INCLUDING, BUT NOT
  * LIMITED TO, THE IMPLIED WARRANTIES OF MERCHANTABILITY, FITNESS FOR A
  * PARTICULAR PURPOSE AND NON-INFRINGEMENT OF THIRD PARTY INTELLECTUAL PROPERTY
  * RIGHTS ARE DISCLAIMED TO THE FULLEST EXTENT PERMITTED BY LAW. IN NO EVENT
  * SHALL STMICROELECTRONICS OR CONTRIBUTORS BE LIABLE FOR ANY DIRECT, INDIRECT,
  * INCIDENTAL, SPECIAL, EXEMPLARY, OR CONSEQUENTIAL DAMAGES (INCLUDING, BUT NOT
  * LIMITED TO, PROCUREMENT OF SUBSTITUTE GOODS OR SERVICES; LOSS OF USE, DATA,
  * OR PROFITS; OR BUSINESS INTERRUPTION) HOWEVER CAUSED AND ON ANY THEORY OF
  * LIABILITY, WHETHER IN CONTRACT, STRICT LIABILITY, OR TORT (INCLUDING
  * NEGLIGENCE OR OTHERWISE) ARISING IN ANY WAY OUT OF THE USE OF THIS SOFTWARE,
  * EVEN IF ADVISED OF THE POSSIBILITY OF SUCH DAMAGE.
  *
  ******************************************************************************
  */

#include "FreeRTOS.h"
#include "task.h"
#include "cmsis_os.h"

/* USER CODE BEGIN Includes */
#include "my_led.h"
#include "my_101.h"
//#include "my_cc1101.h"
#include "my_OS.h"
#include "bsp_iap.h"
#include "my_DAC.h"
/* USER CODE END Includes */

osThreadId defaultTaskHandle;
osThreadId myTask02Handle;
osThreadId myTask03Handle;
osThreadId myTask04Handle;
osThreadId myTask08Handle;
osMessageQId myQueue01Handle;
osMessageQId myQueue02Handle;
osTimerId myTimer01Handle;
osMutexId myMutex01Handle;

/* USER CODE BEGIN Variables */
extern uint16_t my_wave_write_add;

extern uint16_t my_dianliu_exit_add;
//extern uint16_t my_Time_Cyc_exit_add;
extern uint8_t my_DC_AC_status;
extern uint8_t my_CC1101_Frame_status;
extern uint8_t my_CC1101_COM_Fram_buf[];
extern uint16_t  my_CC1101_all_step;
extern uint16_t my_PWR_all_step;

extern uint8_t my_IT_status;
extern uint8_t my_IT_Count;
extern  uint8_t my_Fault_Current_End_Status ; //
extern  uint8_t my_Fault_E_Fild_End_Status ; //
extern TIM_HandleTypeDef htim6;
extern double ADC1_Filer_value_buf[];
extern double ADC2_Filer_value_buf_2[ADC2_COLM][3];

uint16_t   my_os_count1 = 0;
uint8_t 	my_exit_status_count = 0;

EventGroupHandle_t xCreatedEventGroup = NULL;
EventGroupHandle_t xCreatedEventGroup2 = NULL;

uint8_t my_use_cyc_rec_data_status = 0; //是否进行周期录波数据发送，1为发送，0为不发送
uint8_t my_use_alarm_rec_data_status = 1; //是否进行周期录波数据发送，1为发送，0为不发送
uint8_t my_use_alarm_rec_data_status_Efild = 1;

uint16_t my_que1_wait_time = 1000; //队列1的等待时间

/* USER CODE END Variables */

void StartDefaultTask(void const * argument);
void StartTask02(void const * argument);
void StartTask03(void const * argument);
void StartTask04(void const * argument);
void StartTask08(void const * argument);
void Callback01(void const * argument);

void MX_FREERTOS_Init(void); /* (MISRA C 2004 rule 8.1) */

/* Pre/Post sleep processing prototypes */
void PreSleepProcessing(uint32_t *ulExpectedIdleTime);
void PostSleepProcessing(uint32_t *ulExpectedIdleTime);

/* Hook prototypes */

/* USER CODE BEGIN PREPOSTSLEEP */
__weak void PreSleepProcessing(uint32_t *ulExpectedIdleTime)
{
    /* place for user code */
}

__weak void PostSleepProcessing(uint32_t *ulExpectedIdleTime)
{
    /* place for user code */
}
/* USER CODE END PREPOSTSLEEP */

/* Init FreeRTOS */

void MX_FREERTOS_Init(void) {

    /* Create the mutex(es) */
    /* definition and creation of myMutex01 */
    osMutexDef(myMutex01);
    myMutex01Handle = osMutexCreate(osMutex(myMutex01));

    /* Create the timer(s) */
    /* definition and creation of myTimer01 */
    osTimerDef(myTimer01, Callback01);
    myTimer01Handle = osTimerCreate(osTimer(myTimer01), osTimerPeriodic, NULL);

    /* USER CODE BEGIN RTOS_TIMERS */
    /* start timers, add new ones, ... */
    osTimerStart(myTimer01Handle, 1000); //默认设置的优先级是6级
    //	osTimerStart(myTimer02Handle, 240);
    /* USER CODE END RTOS_TIMERS */

    /* Create the thread(s) */
    /* definition and creation of defaultTask */
    osThreadDef(defaultTask, StartDefaultTask, osPriorityIdle, 0, 256);
    defaultTaskHandle = osThreadCreate(osThread(defaultTask), NULL);

    /* definition and creation of myTask02 */
    osThreadDef(myTask02, StartTask02, osPriorityNormal, 0, 256);
    myTask02Handle = osThreadCreate(osThread(myTask02), NULL);

    /* definition and creation of myTask03 */
    osThreadDef(myTask03, StartTask03, osPriorityNormal, 0, 256);
    myTask03Handle = osThreadCreate(osThread(myTask03), NULL);

    /* definition and creation of myTask04 */
    osThreadDef(myTask04, StartTask04, osPriorityAboveNormal, 0, 256);
    myTask04Handle = osThreadCreate(osThread(myTask04), NULL);

    /* definition and creation of myTask08 */
    osThreadDef(myTask08, StartTask08, osPriorityIdle, 0, 384);
    myTask08Handle = osThreadCreate(osThread(myTask08), NULL);

    /* Create the queue(s) */
    /* definition and creation of myQueue01 */
    osMessageQDef(myQueue01, 3, uint16_t);
    myQueue01Handle = osMessageCreate(osMessageQ(myQueue01), NULL);

    /* definition and creation of myQueue02 */
    osMessageQDef(myQueue02, 3, uint16_t);
    myQueue02Handle = osMessageCreate(osMessageQ(myQueue02), NULL);

    /* USER CODE BEGIN RTOS_QUEUES */

    xCreatedEventGroup = xEventGroupCreate();
    xCreatedEventGroup2 = xEventGroupCreate();
    /* add queues, ... */
    /* USER CODE END RTOS_QUEUES */
}

/* StartDefaultTask function */
void StartDefaultTask(void const * argument)
{

    /* USER CODE BEGIN StartDefaultTask */
    //串口拥塞后恢复程序
    __HAL_GPIO_EXTI_CLEAR_IT(PIN_CC_IRQ);
    HAL_NVIC_EnableIRQ(EXIT_CC_IRQ_GD0); //开启中断，接收CC1101数据产生

    /* Infinite loop */
    for(;;)
    {
        if(my_CC1101_all_step == 0)
        {
            //==CC1101
            my_fun_CC1101_init_resume();
            if(my_CC1101_Sleep_status == 1)
            {
                CC1101SetSleep();
            }

            //====串口	==
            my_fun_usart_init_resume(); //串口拥塞后恢复程序
        }

        if( my_DTU_send_faile_count >= 3)
        {
            my_fun_CC1101_init_reum();
        }

        osDelay(33000);
    }
    /* USER CODE END StartDefaultTask */
}

/* StartTask02 function */
void StartTask02(void const * argument)
{
    /* USER CODE BEGIN StartTask02 */
    /* Infinite loop */
    //CC1101发送处理部分

    BaseType_t my_result = 0;
    uint16_t my_step = 0;
    for(;;)
    {
        //==CC1101 发送数据环节，对应队列1

        my_result = xQueueReceive(myQueue01Handle, &my_step, my_que1_wait_time); //xQueuePeek
        //my_result = xQueueReceive(myQueue01Handle, &my_step, 10000); //xQueuePeek
        if(my_result == pdPASS)
        {
            printf("=========CC1101 CC_T_QU1 IS send=[%X]--------\r\n", my_step);
        }
        else
        {
            my_step = 0X00;

            //printf("QH1 error re = %d, step=%d \r\n",my_result,my_step);

        }

        //====0 DTU 在线升级--发送部分
        my_fun_CC1101_time_dialog_tx2(my_step, 0xF000, 0xF100, 0, my_fun_CC1101_test1,3);
        my_fun_CC1101_time_dialog_tx2(my_step, 0xF200, 0xF300, 0, my_fun_CC1101_test1,3);
        my_fun_CC1101_time_dialog_tx2(my_step, 0xF400, 0xF500, 0, my_fun_CC1101_test1,3);
        my_fun_CC1101_time_dialog_tx2(my_step, 0xF600, 0xF700, 0, my_fun_CC1101_test1,3);
        my_fun_CC1101_time_dialog_tx2(my_step, 0xF800, 0xF900, 1, my_fun_CC1101_test1,3);

        //=====主动发送心跳帧，请求参数设置
        my_fun_CC1101_time_dialog_tx2(my_step, 0x0000, 0x00E0, 0, my_fun_TX_CC1101_heart,3);  //心跳
        //==请求参数设置
        my_fun_CC1101_time_dialog_tx2(my_step, 	0x0000, 0x00E1, 0, 	my_fun_TX_CC1101_config,3);  //请求参数设置
        my_fun_CC1101_time_dialog_tx2(my_step,	0x0000,	0X00E2,	1,	my_fun_TX_CC1101_config2,3); //确认设置参数

        //=====2 发送周期数据
        my_fun_CC1101_time_dialog_tx2(my_step, 0x0000, 0x0001, 0, my_fun_TX_CC1101_test0,3);//遥信
        my_fun_CC1101_time_dialog_tx2(my_step, 0x2000, 0x0040, 0, my_fun_TX_CC1101_test1,3);//DC，共7个分量
        my_fun_CC1101_time_dialog_tx2(my_step, 0x2000, 0x0041, 0, my_fun_TX_CC1101_test2,3);//AC有效值，3个分量，电流，电场，半波
        my_fun_CC1101_time_dialog_tx2(my_step, 0x2000, 0x0042, 0, my_fun_TX_CC1101_test3,3);//AC12T
//				if(my_use_cyc_rec_data_status==1)
//        my_fun_CC1101_time_dialog_tx2(my_step, 0x2000, 0x0043, 0, my_fun_TX_CC1101_test4);//录波

        //====1 发送报警数据
        my_fun_CC1101_time_dialog_tx2(my_step, 0x0000, 0x0002, 0, my_fun_TX_CC1101_test0,2); //遥信
        my_fun_CC1101_time_dialog_tx2(my_step, 0x2000, 0x0050, 0, my_fun_TX_CC1101_test1,2); //遥测DC
        my_fun_CC1101_time_dialog_tx2(my_step, 0x2000, 0x0051, 0, my_fun_TX_CC1101_test2,2); //遥测AC，线上电流，电场、半波的有效值，就3个值
        my_fun_CC1101_time_dialog_tx2(my_step, 0x2000, 0x0052, 0, my_fun_TX_CC1101_test3,2); //遥测12TAC
        if(my_use_alarm_rec_data_status == 1)
            my_fun_CC1101_time_dialog_tx2(my_step, 0x2000, 0x0053, 0, my_fun_TX_CC1101_test4,2); //录波_电流
        if(my_use_alarm_rec_data_status_Efild == 1)
            my_fun_CC1101_time_dialog_tx2(my_step, 0x2000, 0x0054, 0, my_fun_TX_CC1101_test5,2); //录波_电场

        //======3 参数设置部分

        //LED2_TOGGLE;
        //osDelay(20000);
    }
    /* USER CODE END StartTask02 */
}

/* StartTask03 function */
void StartTask03(void const * argument)
{
    /* USER CODE BEGIN StartTask03 */
    //CC1101接收处理程序

    /* Infinite loop */
    BaseType_t my_result;
    uint16_t my_step;
    for(;;)
    {
        //CC1101接收数据环节，对应队列2
        my_result = xQueueReceive(myQueue02Handle, &my_step, 2000); //xQueuePeek,队列2对应，M35接收队列
        if(my_result == pdPASS)
        {
            printf("-------CC1101 CC_R_QU2 receive=[%X]\r\n", my_step);
        }
        else
        {
            //printf("CC1101 not receive step = %d\r\n",my_step);
            my_step = 0X0000;
        }

        //====DTU在线升级--接收部分--

        my_fun_CC1101_time_dialog_rx2(&myQueue01Handle, my_step, 0x0000, 0xF000, 0xF100, 0, my_fun_write_update_data_to_FLASH);
        my_fun_CC1101_time_dialog_rx2(&myQueue01Handle, my_step, 0x0000, 0xF200, 0xF300, 0, my_fun_write_update_data_to_FLASH);
        my_fun_CC1101_time_dialog_rx2(&myQueue01Handle, my_step, 0x0000, 0xF400, 0xF500, 0, my_fun_write_update_data_to_FLASH);
        my_fun_CC1101_time_dialog_rx2(&myQueue01Handle, my_step, 0x0000, 0xF600, 0xF700, 0, my_fun_write_update_data_to_FLASH);
        my_fun_CC1101_time_dialog_rx2(&myQueue01Handle, my_step, 0x0000, 0xF800, 0xF900, 0, my_fun_write_update_data_to_FLASH);
        //=====心跳帧
        my_fun_CC1101_time_dialog_rx2(&myQueue01Handle, my_step, 0x00E0, 0x2000, 0x0000, 1, my_fun_RX_CC1101_text0_RX_OK);
        //==请求参数设置
        my_fun_CC1101_time_dialog_rx2(&myQueue01Handle, my_step, 0x00E1, 0xE100, 0x00E2, 0, my_fun_RX_CC1101_text0_RX_OK);//接收到参数设置命令
        //======周期接收部分===
        my_fun_CC1101_time_dialog_rx2(&myQueue01Handle, my_step, 0x0001, 0x2000, 0x0040, 0, my_fun_RX_CC1101_text0_RX_OK);
        my_fun_CC1101_time_dialog_rx2(&myQueue01Handle, my_step, 0x0040, 0x2000, 0x0041, 0, my_fun_RX_CC1101_text0_RX_OK);
        my_fun_CC1101_time_dialog_rx2(&myQueue01Handle, my_step, 0x0041, 0x2000, 0x0042, 0, my_fun_RX_CC1101_text0_RX_OK);
//				if(my_use_cyc_rec_data_status==1)
//				{
//				my_fun_CC1101_time_dialog_rx2(&myQueue01Handle, my_step, 0x0042, 0x2000, 0x0043, 0, my_fun_RX_CC1101_text0_RX_OK);
//				my_fun_CC1101_time_dialog_rx2(&myQueue01Handle, my_step, 0x0043, 0x2000, 0x0000, 1, my_fun_RX_CC1101_text0_RX_OK);
//				}
//				else
        my_fun_CC1101_time_dialog_rx2(&myQueue01Handle, my_step, 0x0042, 0x2000, 0x0000, 1, my_fun_RX_CC1101_text0_RX_OK);

        //======  报警接收  ==
        my_fun_CC1101_time_dialog_rx2(&myQueue01Handle, my_step, 0x0002, 0x2000, 0x0050, 0, my_fun_RX_CC1101_text0_RX_OK);
        my_fun_CC1101_time_dialog_rx2(&myQueue01Handle, my_step, 0x0050, 0x2000, 0x0051, 0, my_fun_RX_CC1101_text0_RX_OK);
        my_fun_CC1101_time_dialog_rx2(&myQueue01Handle, my_step, 0x0051, 0x2000, 0x0052, 0, my_fun_RX_CC1101_text0_RX_OK);
        if(my_use_alarm_rec_data_status == 1 && my_use_alarm_rec_data_status_Efild == 0)
        {
            my_fun_CC1101_time_dialog_rx2(&myQueue01Handle, my_step, 0x0052, 0x2000, 0x0053, 0, my_fun_RX_CC1101_text0_RX_OK);
            my_fun_CC1101_time_dialog_rx2(&myQueue01Handle, my_step, 0x0053, 0x2000, 0x0000, 1, my_fun_RX_CC1101_text0_RX_OK);
        }
        else if(my_use_alarm_rec_data_status == 1 && my_use_alarm_rec_data_status_Efild == 1)
        {
            my_fun_CC1101_time_dialog_rx2(&myQueue01Handle, my_step, 0x0052, 0x2000, 0x0053, 0, my_fun_RX_CC1101_text0_RX_OK);
            my_fun_CC1101_time_dialog_rx2(&myQueue01Handle, my_step, 0x0053, 0x2000, 0x0054, 0, my_fun_RX_CC1101_text0_RX_OK);
            my_fun_CC1101_time_dialog_rx2(&myQueue01Handle, my_step, 0x0054, 0x2000, 0x0000, 1, my_fun_RX_CC1101_text0_RX_OK);

        }
        else
            my_fun_CC1101_time_dialog_rx2(&myQueue01Handle, my_step, 0x0052, 0x2000, 0x0000, 1, my_fun_RX_CC1101_text0_RX_OK);

        //LED4_TOGGLE
        //osDelay(1000);
    }
    /* USER CODE END StartTask03 */
}

/* StartTask04 function */
void StartTask04(void const * argument)
{
    /* USER CODE BEGIN StartTask04 */
    /* Infinite loop */
    //CC1101接收中断处理

    uint8_t my_status = 0;
    uint8_t temp8 = 0;
    uint16_t my_step = 0;
    for(;;)
    {
        //CC1101协议帧检测，对应标志组1，的0000 1000的这位1，有命令帧，发送状态到接收队列2

        //=========
        EventBits_t	uxBits = xEventGroupWaitBits(xCreatedEventGroup, /* 事件标志组句柄 */
                             0x08,            /* 等待bit0和bit1被设置 */
                             pdTRUE,             /* 退出前bit0和bit1被清除，这里是bit0和bit1都被设置才表示“退出”*/
                             pdTRUE,             /* 设置为pdTRUE表示等待bit1和bit0都被设置*/
                             10000); 	 /* 等待延迟时间 */

        if((uxBits & 0x08) == 0x08)
        {
            my_status = 1; //通过标志组，获得接收到数据的标志
            //printf("cc1101 receive data !\r\n");
        }
        else
            my_status = 0;
        //=========

        //把CC101接收到的数据移动到缓冲区中
        if(my_status == 1)
        {
            if(RF_RecvHandler_intrrupt_get_data_to_buf() > 0)
                my_status = 1;
            else
                my_status = 0;

        }
        //============

        //对缓冲区进行帧分析
        if(my_status == 1)
        {

            //协议解析，获得一帧数据
            my_101frame_analyse(4, 1, CC1101_CRC_check);
            //=========取功能码===
            if(my_CC1101_Frame_status > 0) //分析出来数据
            {
#if Debug_Usart_out_CC1101_Get_cmd==1
                my_fun_display_fram_16(4);  //测试使用，显示接收到的数据
#endif
                my_CC1101_Frame_status = 0;

                if(my_CC1101_COM_Fram_buf[0] == 0x10)
                {
                    my_status = 0x10;
                    temp8 = my_CC1101_COM_Fram_buf[1]; //功能码为0X20，代表OK帧
                }
                else if (my_CC1101_COM_Fram_buf[0] == 0x68) //长帧的功能码
                {
                    my_status = 0x68;
                    temp8 = my_CC1101_COM_Fram_buf[6]; //
                }
                else
                {
                    my_status = 0;
                    temp8 = 0;
                }
            }
            //====功能码分析部分===
            if(temp8 != 0x00)
            {
                printf("CC1101 now_step=[%X], get_step= [%X]\r\n", my_CC1101_all_step, temp8);

            }
            //==1=OK帧对话工程
            if( temp8 == 0x20 && my_CC1101_all_step != 0)
            {
                my_step = 0X2000;
                xQueueSend(myQueue02Handle, &my_step, 100);
            }
            //===2====

            //==3 ====升级对话过程
            else if( temp8 == 0xF0)
            {
                //my_CC1101_all_step=0XF000; //对话过程的开始状态
                my_step = 0XF000;
                xQueueSend(myQueue02Handle, &my_step, 100);
            }
            else if( temp8 == 0xF2)
            {
                my_step = 0XF200;
                xQueueSend(myQueue02Handle, &my_step, 100);
            }
            else if( temp8 == 0xF4)
            {
                my_CC1101_all_step = 0XF400;
                my_step = 0XF400;
                xQueueSend(myQueue02Handle, &my_step, 100);
            }
            else if( temp8 == 0xF6)
            {
                my_step = 0XF600;
                xQueueSend(myQueue02Handle, &my_step, 100);
            }
            else if( temp8 == 0xF8)
            {
                my_step = 0XF800;
                xQueueSend(myQueue02Handle, &my_step, 100);
            }
            //参数设置
            else if(temp8 == 0X3F)
            {
                my_step = 0XE100;
                xQueueSend(myQueue02Handle, &my_step, 100);

            }

            //===

            //===============

            temp8 = 0;
            my_CC1101_Frame_status = 0;
            my_status = 0;

        }
        //osDelay(1);
    }
    /* USER CODE END StartTask04 */
}

/* StartTask08 function */
void StartTask08(void const * argument)
{
    /* USER CODE BEGIN StartTask08 */
    /* Infinite loop */
    uint8_t my_status = 0;
    uint8_t temp8 = 0;
    uint16_t my_step = 0;
    HAL_NVIC_EnableIRQ(EXIT_dianliu_EXTI_IRQn); //短路中断开启
    HAL_NVIC_EnableIRQ(EXIT_jiedi_EXTI_IRQn); //接地中断开启
    HAL_TIM_Base_Start_IT(&htim6);  //开启tim6定时器,1s
    double my_temp_double = 0;
    for(;;)
    {

        EventBits_t	uxBits = xEventGroupWaitBits(xCreatedEventGroup2, /* 事件标志组句柄 */
                             0x03,            /* 等待bit0被设置 */
                             pdTRUE,             /* 退出前bit0和bit1被清除，这里是bit0和bit1都被设置才表示“退出”*/
                             pdFALSE,             /* 设置为pdTRUE表示等待bit1和bit0都被设置*/
                             100); 	 /* 等待延迟时间 */

        if((uxBits & 0x01) == 0x01) //短路中断，标志
        {
            my_status = 1; //通过标志组，获得接收到数据的标志
            //printf("cc1101 receive data my_status1=%d\r\n",my_status);
        }
        else if((uxBits & 0x02) == 0x02)
        {
            my_status = 2;
						 //printf("cc1101 receive data my_status2=%d\r\n",my_status);
        }
        else
            my_status = 0;
        //======中断处理===
        if(my_status == 1)
        {
            //启动中断判断，建立各种判据，判据获得全，得出结论后，进入对话信息发送环节
            //如果是同步录波，考虑立刻发送同步信号，然后开始自己录波，有待验证
            temp8 = my_fun_current_exit_just(); //1为表示录波结束了，0为没有结束
        }

        if(my_IT_status == 1)
        {
            temp8 = my_fun_current_exit_just(); //1为表示录波结束了，0为没有结束

            if(temp8 == 1 && (my_Fault_Current_End_Status != 0 || my_Fault_E_Fild_End_Status != 0)) //正常报警处理
            {

                //进入中断后，把对应的DAC值设定为600A
                my_temp_double = ADC2_Filer_value_buf_2[0][1];
                ADC2_Filer_value_buf_2[0][1] = 600;
                my_ADC_Count_old = my_ADC_Count - 1;
                my_fun_Set_DAC_I_ref();//DA转换
                ADC2_Filer_value_buf_2[0][1] = my_temp_double;
								osDelay(3);

								//不同相序进行随机进行延时发送

								osDelay((my_CC1101_chip_address-1)*30*1000);
                //中断处理结束了，恢复中断开启
                HAL_NVIC_ClearPendingIRQ(EXIT_dianliu_EXTI_IRQn);
                __HAL_GPIO_EXTI_CLEAR_FLAG(EXIT_dianliu_Pin);
                __HAL_GPIO_EXTI_CLEAR_IT(EXIT_dianliu_Pin);

                HAL_NVIC_ClearPendingIRQ(EXIT_jiedi_EXTI_IRQn);
                __HAL_GPIO_EXTI_CLEAR_FLAG(EXIT_jiedi_Pin);
                __HAL_GPIO_EXTI_CLEAR_IT(EXIT_jiedi_Pin);

               HAL_NVIC_EnableIRQ(EXIT_dianliu_EXTI_IRQn); //短路中断开启
                HAL_NVIC_EnableIRQ(EXIT_jiedi_EXTI_IRQn); //接地中断开启

                //进入数据发送环节@@@@@@@
								printf("interrrupt is alarm\n");
								temp8=0;
                my_zsq_ALarm_send_status = 1; //报警发送状态为1，启动发送
                my_step = 0X0002; //0X0200
                xQueueSend(myQueue01Handle, &my_step, 100);
            }

            else if(temp8 == 1 && my_Fault_Current_End_Status == 0 && my_Fault_E_Fild_End_Status == 0) //中断但是没有报警
            {

                my_temp_double = ADC2_Filer_value_buf_2[0][1];
                ADC2_Filer_value_buf_2[0][1] = 600;
                my_ADC_Count_old = my_ADC_Count - 1; //设定变化条件，可以进行设定DAC
                my_fun_Set_DAC_I_ref();//DA转换
                ADC2_Filer_value_buf_2[0][1] = my_temp_double;
								osDelay(3);
								//不同相序进行随机进行延时发送
								osDelay((my_CC1101_chip_address-1)*30*1000);
                //中断处理结束了，恢复中断开启
                HAL_NVIC_ClearPendingIRQ(EXIT_dianliu_EXTI_IRQn);
                __HAL_GPIO_EXTI_CLEAR_FLAG(EXIT_dianliu_Pin);
                __HAL_GPIO_EXTI_CLEAR_IT(EXIT_dianliu_Pin);

                HAL_NVIC_ClearPendingIRQ(EXIT_jiedi_EXTI_IRQn);
                __HAL_GPIO_EXTI_CLEAR_FLAG(EXIT_jiedi_Pin);
                __HAL_GPIO_EXTI_CLEAR_IT(EXIT_jiedi_Pin);

                HAL_NVIC_EnableIRQ(EXIT_dianliu_EXTI_IRQn); //短路中断开启
                HAL_NVIC_EnableIRQ(EXIT_jiedi_EXTI_IRQn); //接地中断开启

                //设定模拟报警数据
                my_Fault_Current_End_Status = 0XF2;  //中断，但是不是报警实践

                //进入数据发送环节@@@@@@@
								printf("interrrupt is alarm--NO\n");
								temp8=0;
                my_zsq_ALarm_send_status = 1; //报警发送状态为1，启动发送
                my_step = 0X0002; //0X0200
                xQueueSend(myQueue01Handle, &my_step, 100);
            }

        }
        //=====周期处理===
        if(my_status == 2)
        {

            //定时一段时间进行录波计算，或者周期发送时间到进行计算
            my_adc_1_convert(); //计算直流值（ADC1的7个分量）
#if USE_olde_12T_data_cyc==0
            my_fun_wave_rec();  //1级缓冲到2级缓冲，等待时间
#else
            my_fun_wave1_to_wave2_old_data();//历史数据
#endif

            my_adc2_convert2(0); //计算12个周期的每个周期的3个分量，和12个周期的累计平均值
            //my_Time_Cyc_exit_Status=0;

        }

        //osDelay(1000);
    }
    /* USER CODE END StartTask08 */
}

/* Callback01 function */
void Callback01(void const * argument)
{
    /* USER CODE BEGIN Callback01 */

    my_os_count1++; //1秒钟，中断一次

#if ADC_CYC_data==1  //开启周期采样
    if(my_os_count1 % (30) == 0 && my_os_count1 != 0)
    {
        //my_fun_give_Queue(&myQueue01Handle, 0X0001); //发送周期数据

    }

#endif

#if DAC_auto_change_on==1
    if(my_os_count1 % (my_DAC_cyc_time) == 0 || my_os_count1 == 1)
    {

        if(my_CC1101_all_step == 00 && my_E_Field_exit_Status == 0 && my_Current_exit_Status == 0 && my_Time_Cyc_exit_Status == 0)
        {
            printf("\n==DAC Vref CC1101_all_step=[%X],A_EXIT_status=%d,E_exit_status=%d,cyc_exit_status=%d\n", my_CC1101_all_step, my_E_Field_exit_Status, my_Current_exit_Status, my_Time_Cyc_exit_Status);
            //printf("=====DAC Vref====\n");
            my_fun_Set_DAC_I_ref();//DA转换
            my_fun_get_Line_stop_Efild(); //静态判断@@@@@@@@@@@@@@@@@@2
            printf("----after DAC CC1101_STEP=[%X]---\n", my_CC1101_all_step);
        }
    }
#endif

#if OS_heap_high_water_data==1
    if(my_os_count1 % (437) == 0 && my_os_count1 != 0)
    {
        if(my_CC1101_all_step == 00 && my_E_Field_exit_Status == 0 && my_Current_exit_Status == 0 && my_Time_Cyc_exit_Status == 0)
        {
            my_fun_task_heap_value();
        }

    }
#endif

    if(my_os_count1 % (13) == 0 )
    {
        printf("\n==ZSQ[%d]--yongsai control[%d]===\n",my_CC1101_chip_address, my_os_count1);
        my_adc_1_convert_dis(0); //显示直流值
        //==CC1101低功耗控制策略
        if(ADC1_Filer_value_buf[6] >= 4.0)
        {
            my_CC1101_Sleep_status = 0;
            if(my_CC1101_all_step == 0x00 && my_DTU_send_faile_count >= 3) //my_DTU_send_faile_count表示CC1101与DTU通信失败多次
            {
                CC1101SetSleep();
            }

        }
        else
        {
            my_CC1101_Sleep_status = 1;
            if(my_CC1101_all_step == 0x00 && my_DTU_send_faile_count >= 3)
            {
                CC1101SetSleep();
            }

        }

        //===拥塞处理，恢复原始状态
        if(my_E_Field_exit_Status == 1 || my_Current_exit_Status == 1 || my_Time_Cyc_exit_Status == 1)
        {

            my_exit_status_count++;
        }
        else
        {

            my_exit_status_count = 0;
        }
        if(my_exit_status_count >= 3)
        {
            my_E_Field_exit_Status = 0; //
            my_Current_exit_Status = 0;
            my_exit_status_count = 0;
            my_Time_Cyc_exit_Status = 0;
            my_CC1101_all_step = 0;
            my_sys_start_status = 0;
        }
        //=============

        //锂电池充电策略
        if(ADC1_Filer_value_buf[6] > 4.2)
        {
            //EN25505_OFF;  //关断锂电池充电电路

        }
        else
        {
            //EN25505_ON;  //打开锂电池供电电路

        }

        //线上取电管理策略
        if(my_os_count1 % 3607 == 0)
        {
            CT_to_BQ25505_ON;  //CT给BQ25充电
            HAL_Delay(500);
            CT_to_BQ25505_OFF;
            HAL_Delay(500);
            CT_to_BQ25505_ON;
        }
        //25505芯片的管理策略
        if(my_os_count1 % (3673) == 0 )
        {

            EN25505_OFF;
            HAL_Delay(1000);
            EN25505_ON;//BQ25505工作（默认）

        }
				//线上放电策略
				if(ADC2_Filer_value_buf_2[0][1]>300 && my_Line_short_status==1)
				{
					CT_Source_short_ON; //短路放电 10分钟，充电10分钟

					if(my_Line_short_count>600) //短路放电10分钟
					{
						my_Line_short_status=0;
						my_Line_short_count=0;
					}

				}
				else if(ADC2_Filer_value_buf_2[0][1]>300 && my_Line_short_status==0)
				{
					CT_Source_short_OFF;//不短路放电

					if(my_Line_short_count>600) //不短路，充电10分钟
					{
						my_Line_short_status=1;
						my_Line_short_count=0;
					}

				}
				if(ADC2_Filer_value_buf_2[0][1]<280)
				{
					CT_Source_short_OFF;//不短路放电
					my_Line_short_status=0;
				}
       //====================

        //初始化状态结束
        if(my_sys_start_status == 1)
        {

            printf("==start init [%d]==\n", my_sys_start_status);
            BaseType_t xResult;
            BaseType_t xHigherPriorityTaskWoken = pdFAIL;
            my_Time_Cyc_exit_Status = 1;
            my_dianliu_exit_add = my_wave_write_add; //当前录波地址
            my_Time_Cyc_exit_add = my_wave_write_add;
            xResult =	xEventGroupSetBitsFromISR(xCreatedEventGroup2, 0X02, &xHigherPriorityTaskWoken); //产生中断事件
            if(xResult != pdFAIL)
            {
                portYIELD_FROM_ISR(xHigherPriorityTaskWoken);
            }
            HAL_Delay(3000); //等待录波

            my_tim6_count = 0;
            my_fun_give_Queue(&myQueue01Handle, 0X0001); //发送周期数据
            //my_sys_start_status = 0;//@@@@@指示器重启，初始化的标志。

        }

    }

    //周期报警
    if(my_os_count1 % (3637 * 3 + (my_CC1101_chip_address-1) * 31) == 0 && my_zsq_ALarm_send_status == 0 && my_os_count1 != 0)
    {
        printf("===send simulation alarm data--1!!!\n");
        fun_wave2_to_wave3(); //二级缓存中的所有数据放入到三级缓存中，处理后值
        my_cyc_alarm_status = 1;
        my_zsq_ALarm_send_status = 1;
        my_fun_give_Queue(&myQueue01Handle, 0X0002); //发送模拟报警

        //LED2_TOGGLE;
    }

    //重复发送报警数据
    if(my_os_count1 % (38+ (my_CC1101_chip_address-1) * 15) == 0 && my_CC1101_all_step == 0x00 && my_zsq_ALarm_send_status == 1 && my_os_count1 != 0)
    {
        printf("==cyc send alarm data!!!--2\n");
        my_fun_give_Queue(&myQueue01Handle, 0X0002); //发送报警
    }

//		//设置参数请求
//		if(my_os_count1 % (23) ==0 && my_CC1101_all_step==0x00)
//		{
//			printf("==send config parameter，my_os_count1=%d !!!--2\n",my_os_count1);
//			my_fun_give_Queue(&myQueue01Handle, 0X00E1); //发送报警
//		}

    /* USER CODE END Callback01 */
}

/************************ (C) COPYRIGHT STMicroelectronics *****END OF FILE****/
